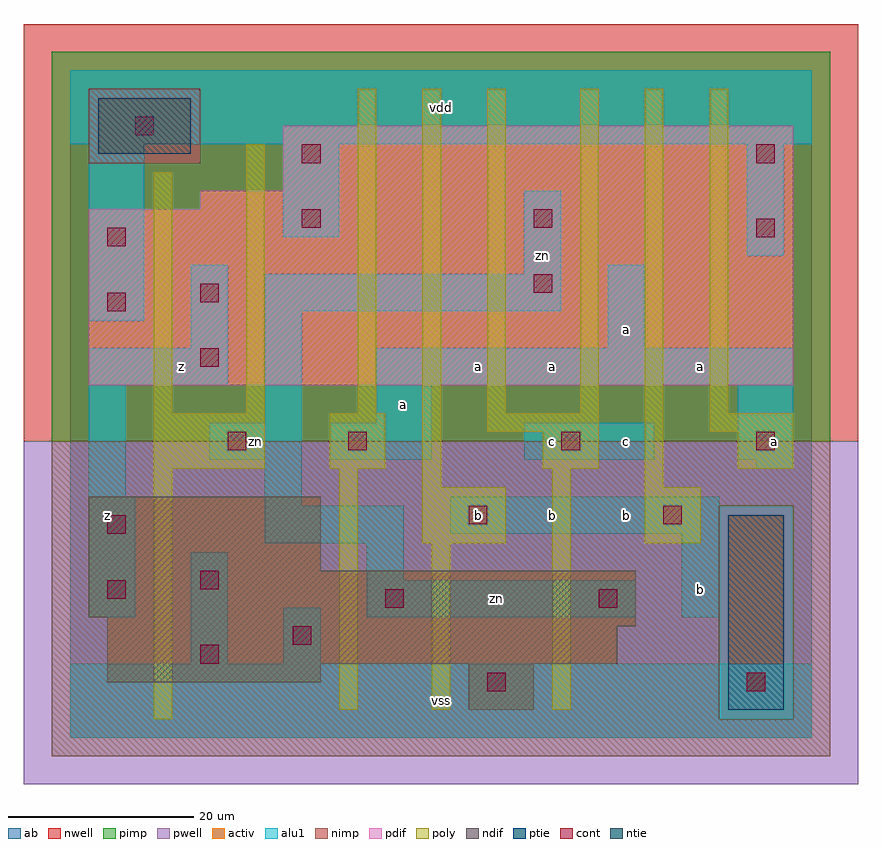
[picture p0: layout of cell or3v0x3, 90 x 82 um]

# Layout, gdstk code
import gdstk
lib = gdstk.Library(unit=1e-6, precision=1e-09)
def R(c, l, rs):  # rectangles x0, y0, x1, y1
    for r in rs: c.add(gdstk.rectangle(r[:2], r[2:], *l))
ndif = (3, 0)
pdif = (4, 0)
ntie = (5, 0)
ptie = (6, 0)
cont = (25, 0)
pwell = (41, 0)
nwell = (42, 0)
activ = (43, 0)
pimp = (44, 0)
nimp = (45, 0)
poly = (46, 0)
alu1 = (49, 0)
ab = (63, 0)

or3v0x3 = lib.new_cell('or3v0x3')
R(or3v0x3, ndif, [(43,3,50,8), (4,6,27,8), (4,8,59,12), (4,12,61,13), (2,13,61,18), (2,18,27,26)])
R(or3v0x3, pdif, [(2,38,78,57), (14,57,78,59), (23,59,78,66)])
R(or3v0x3, ntie, [(3,63,13,69)])
R(or3v0x3, ptie, [(71,3,77,24)])
R(or3v0x3, cont, [(45,5,47,7), (73,5,75,7), (14,8,16,10), (24,10,26,12), (34,14,36,16), (57,14,59,16), (4,15,6,17), (14,16,16,18), (4,22,6,24), (43,23,45,25), (64,23,66,25), (17,31,19,33), (30,31,32,33), (53,31,55,33), (74,31,76,33), (14,40,16,42), (4,46,6,48), (14,47,16,49), (50,48,52,50), (4,53,6,55), (74,54,76,56), (25,55,27,57), (50,55,52,57), (25,62,27,64), (74,62,76,64), (7,65,9,67)])
R(or3v0x3, pwell, [(-5,-5,85,32)])
R(or3v0x3, nwell, [(-5,32,85,77)])
R(or3v0x3, activ, [(43,3,50,8), (71,3,77,24), (4,6,27,8), (4,8,59,12), (4,12,61,13), (2,13,61,18), (2,18,27,26), (2,38,78,57), (14,57,78,59), (23,59,78,66), (3,63,13,69)])
R(or3v0x3, pimp, [(70,2,78,25), (-2,32,82,62), (-2,62,2,70), (14,62,82,70), (-2,70,82,74)])
R(or3v0x3, nimp, [(-2,-2,82,2), (-2,2,70,25), (78,2,82,25), (-2,25,82,32), (2,62,14,70)])
R(or3v0x3, poly, [(9,2,11,29), (29,3,31,29), (39,3,41,21), (52,3,54,29), (38,21,47,27), (62,21,68,27), (38,27,40,70), (62,27,64,70), (9,29,21,35), (28,29,34,35), (51,29,57,33), (72,29,78,33), (45,33,57,35), (69,33,78,35), (9,35,11,61), (19,35,21,64), (31,35,33,70), (45,35,47,70), (55,35,57,70), (69,35,71,70)])
R(or3v0x3, alu1, [(0,0,80,8), (13,8,17,20), (23,8,27,14), (2,13,7,26), (32,13,61,17), (66,13,70,22), (32,17,36,21), (21,21,36,25), (41,22,70,26), (21,25,25,30), (2,26,6,38), (74,29,78,30), (15,30,25,34), (28,30,39,34), (49,30,63,34), (72,30,78,38), (21,34,25,46), (33,34,39,38), (2,38,17,42), (33,38,78,42), (13,42,17,51), (58,42,62,51), (2,45,8,64), (21,46,53,50), (49,50,53,59), (73,52,77,64), (23,54,29,64), (0,64,80,72)])
R(or3v0x3, ab, [(0,0,80,72)])
or3v0x3.add(gdstk.Label('zn', (20,32), layer=49, texttype=0))
or3v0x3.add(gdstk.Label('zn', (51,52), layer=49, texttype=0))
or3v0x3.add(gdstk.Label('zn', (46,15), layer=49, texttype=0))
or3v0x3.add(gdstk.Label('z', (4,24), layer=49, texttype=0))
or3v0x3.add(gdstk.Label('z', (12,40), layer=49, texttype=0))
or3v0x3.add(gdstk.Label('a', (36,36), layer=49, texttype=0))
or3v0x3.add(gdstk.Label('vss', (40,4), layer=49, texttype=0))
or3v0x3.add(gdstk.Label('b', (44,24), layer=49, texttype=0))
or3v0x3.add(gdstk.Label('b', (52,24), layer=49, texttype=0))
or3v0x3.add(gdstk.Label('c', (52,32), layer=49, texttype=0))
or3v0x3.add(gdstk.Label('a', (52,40), layer=49, texttype=0))
or3v0x3.add(gdstk.Label('a', (44,40), layer=49, texttype=0))
or3v0x3.add(gdstk.Label('vdd', (40,68), layer=49, texttype=0))
or3v0x3.add(gdstk.Label('b', (68,16), layer=49, texttype=0))
or3v0x3.add(gdstk.Label('b', (60,24), layer=49, texttype=0))
or3v0x3.add(gdstk.Label('c', (60,32), layer=49, texttype=0))
or3v0x3.add(gdstk.Label('a', (76,32), layer=49, texttype=0))
or3v0x3.add(gdstk.Label('a', (68,40), layer=49, texttype=0))
or3v0x3.add(gdstk.Label('a', (60,44), layer=49, texttype=0))

lib.write_gds('or3v0x3.gds')
